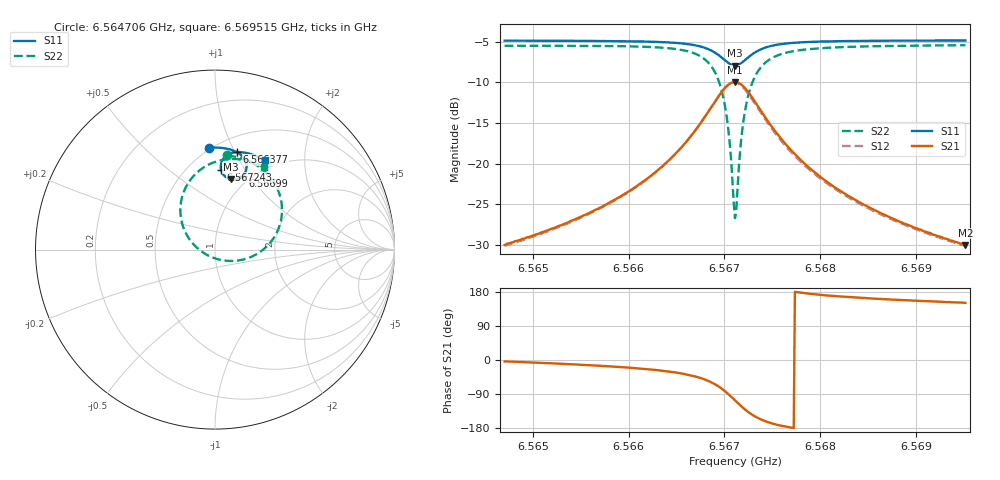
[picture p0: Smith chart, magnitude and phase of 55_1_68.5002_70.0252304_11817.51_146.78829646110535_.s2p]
#  HZ  S  RI  R  50.00
! Rohde & Schwarz Vector Network Analyzer
! Rohde-Schwarz,ZNB20-2Port,1311601062101988,3.16
! Created: UTC 3/20/2024, 4:50:59 PM
! freq[Hz]  re:S11  im:S11  re:S21  im:S21  re:S12  im:S12  re:S22  im:S22
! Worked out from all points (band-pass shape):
!   401 points, 6.564706 GHz to 6.569515 GHz, reference 50 ohm
!   highest |S21| = -9.97 dB at 6.56711 GHz (marker M1); lowest = -30.0 dB at 6.569515 GHz (marker M2)
!   |S21| within 3 dB of the highest: 6.566869 GHz to 6.567351 GHz (481.2 kHz wide, 0.00733 % of centre)
!   lowest |S11| = -7.9 dB at 6.56711 GHz (marker M3), VSWR 2.34, Z = 42.6 + j39.7 ohm
!   |S11| at or under -10 dB: nowhere
!   |S22| runs from -26.7 to -5.4 dB; largest |S21 - S12| = 0.016
!   S11 on the Smith chart (normalised r, x): 6.564706 GHz: 0.48, +0.82; 6.566377 GHz: 0.64, +1.02; 6.56699 GHz: 0.91, +0.93; 6.567243 GHz: 0.71, +0.79; 6.569515 GHz: 0.87, +1.29
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6.5647062e9  -0.0346 0.5684  0.0316 -0.00213  0.0312 -0.00248  0.0691 0.5247
6.5655116e9  0.0333 0.5671  0.0461 -0.0104  0.0454 -0.0111  0.1512 0.507
6.5659684e9  0.076 0.56  0.062 -0.0221  0.061 -0.0227  0.2112 0.4817
6.566317e9  0.1134 0.5474  0.0823 -0.0422  0.0811 -0.0433  0.2723 0.4399
6.5663772e9  0.1205 0.5439  0.0869 -0.0482  0.0857 -0.0493  0.285 0.4281
6.5666176e9  0.1514 0.521  0.109 -0.0874  0.1074 -0.0894  0.3419 0.3509
6.5667979e9  0.1728 0.4841  0.1203 -0.1524  0.1172 -0.156  0.3734 0.2253
6.5669061e9  0.1741 0.4462  0.1037 -0.2193  0.0976 -0.2239  0.3456 0.0981
6.5669903e9  0.1551 0.411  0.0537 -0.2794  0.0427 -0.2828  0.2512 -0.0131
6.5670383e9  0.1326 0.3952  0.00348 -0.3045  -0.0102 -0.3047  0.157 -0.0553
6.5670864e9  0.1029 0.3892  -0.0586 -0.3106  -0.0735 -0.306  0.044 -0.0597
6.5671105e9  0.0872 0.391  -0.0904 -0.3044  -0.1049 -0.297  -0.0125 -0.0445
6.5671345e9  0.0724 0.3965  -0.1204 -0.2919  -0.1337 -0.2822  -0.064 -0.018
6.5671706e9  0.0535 0.4096  -0.1586 -0.264  -0.1688 -0.2514  -0.1267 0.0373
6.5671946e9  0.0442 0.4208  -0.1777 -0.241  -0.1856 -0.2275  -0.1567 0.0805
6.5672427e9  0.0336 0.4456  -0.2008 -0.1924  -0.2042 -0.1785  -0.1887 0.1695
6.5673389e9  0.037 0.4885  -0.2027 -0.1094  -0.2005 -0.0988  -0.177 0.3142
6.5674831e9  0.0641 0.5239  -0.1674 -0.0406  -0.1636 -0.035  -0.1005 0.4291
6.5676514e9  0.0957 0.5392  -0.1288 -0.00799  -0.1256 -0.00483  -0.02 0.4811
6.5679159e9  0.1345 0.5439  -0.0905 0.00929  -0.0881 0.0108  0.0658 0.5031
6.5687214e9  0.2149 0.5272  -0.0442 0.0161  -0.043 0.0165  0.1993 0.4891
6.5695148e9  0.2761 0.4999  -0.0276 0.0154  -0.027 0.0154  0.2756 0.4574
